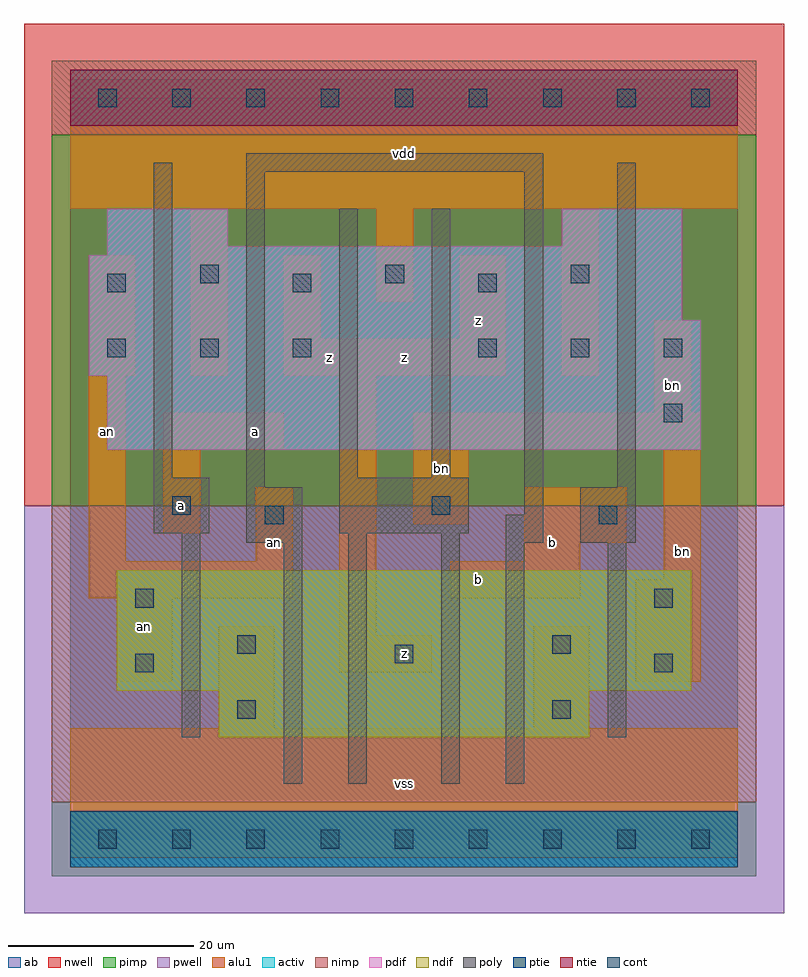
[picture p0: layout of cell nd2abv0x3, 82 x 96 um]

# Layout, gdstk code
import gdstk
lib = gdstk.Library(unit=1e-6, precision=1e-09)
def R(c, l, rs):  # rectangles x0, y0, x1, y1
    for r in rs: c.add(gdstk.rectangle(r[:2], r[2:], *l))
def A(c, l, x, y, w, h, nx, ny, dx, dy):  # array of equal rectangles
    R(c, l, [(x+i*dx, y+j*dy, x+i*dx+w, y+j*dy+h) for i in range(nx) for j in range(ny)])
ndif = (3, 0)
pdif = (4, 0)
ntie = (5, 0)
ptie = (6, 0)
cont = (25, 0)
pwell = (41, 0)
nwell = (42, 0)
activ = (43, 0)
pimp = (44, 0)
nimp = (45, 0)
poly = (46, 0)
alu1 = (49, 0)
ab = (63, 0)

nd2abv0x3 = lib.new_cell('nd2abv0x3')
R(nd2abv0x3, ndif, [(16,11,56,16), (5,16,67,29)])
R(nd2abv0x3, pdif, [(4,42,68,50), (2,50,68,56), (2,56,66,63), (4,63,66,64), (4,64,17,68), (53,64,66,68)])
R(nd2abv0x3, ntie, [(0,77,72,83)])
R(nd2abv0x3, ptie, [(0,-3,72,3)])
A(nd2abv0x3, cont, 3, -1, 2, 2, 9, 2, 8, 80)
A(nd2abv0x3, cont, 4, 52, 2, 2, 3, 1, 10, 0)
A(nd2abv0x3, cont, 44, 52, 2, 2, 3, 1, 10, 0)
A(nd2abv0x3, cont, 4, 59, 2, 2, 3, 1, 20, 0)
A(nd2abv0x3, cont, 14, 60, 2, 2, 3, 1, 20, 0)
R(nd2abv0x3, cont, [(18,13,20,15), (52,13,54,15), (7,18,9,20), (63,18,65,20), (35,19,37,21), (18,20,20,22), (52,20,54,22), (7,25,9,27), (63,25,65,27), (21,34,23,36), (57,34,59,36), (11,35,13,37), (39,35,41,37), (64,45,66,47)])
R(nd2abv0x3, pwell, [(-5,-8,77,36)])
R(nd2abv0x3, nwell, [(-5,36,77,88)])
R(nd2abv0x3, activ, [(0,-3,72,3), (16,11,56,16), (5,16,67,29), (4,42,68,50), (2,50,68,56), (2,56,66,63), (4,63,66,64), (4,64,17,68), (53,64,66,68), (0,77,72,83)])
R(nd2abv0x3, pimp, [(-2,-4,74,4), (-2,36,74,76)])
R(nd2abv0x3, nimp, [(-2,4,74,36), (-2,76,74,84)])
R(nd2abv0x3, poly, [(23,6,25,32), (30,6,32,33), (40,6,42,33), (47,6,49,32), (12,11,14,33), (58,11,60,32), (19,32,25,38), (47,32,51,35), (55,32,61,38), (9,33,15,39), (29,33,43,39), (49,35,51,72), (19,38,21,72), (59,38,61,73), (9,39,11,73), (29,39,31,68), (39,39,41,68), (19,72,51,74)])
R(nd2abv0x3, alu1, [(0,-2,72,12), (16,12,22,23), (50,12,56,23), (5,17,11,26), (61,17,68,28), (29,18,39,22), (29,22,33,50), (2,26,24,30), (41,26,55,30), (64,28,68,42), (2,30,6,50), (20,30,24,38), (49,30,55,32), (49,32,60,38), (10,33,14,42), (37,34,43,42), (10,42,23,46), (37,42,68,46), (63,46,67,56), (2,50,7,63), (13,50,17,68), (23,50,47,54), (53,50,57,68), (23,54,27,63), (42,54,47,63), (33,58,37,68), (0,68,72,82)])
R(nd2abv0x3, ab, [(0,0,72,80)])
nd2abv0x3.add(gdstk.Label('an', (8,23), layer=49, texttype=0))
nd2abv0x3.add(gdstk.Label('an', (4,44), layer=49, texttype=0))
nd2abv0x3.add(gdstk.Label('an', (22,32), layer=49, texttype=0))
nd2abv0x3.add(gdstk.Label('bn', (40,40), layer=49, texttype=0))
nd2abv0x3.add(gdstk.Label('bn', (65,49), layer=49, texttype=0))
nd2abv0x3.add(gdstk.Label('bn', (66,31), layer=49, texttype=0))
nd2abv0x3.add(gdstk.Label('a', (12,36), layer=49, texttype=0))
nd2abv0x3.add(gdstk.Label('a', (20,44), layer=49, texttype=0))
nd2abv0x3.add(gdstk.Label('z', (28,52), layer=49, texttype=0))
nd2abv0x3.add(gdstk.Label('vss', (36,6), layer=49, texttype=0))
nd2abv0x3.add(gdstk.Label('z', (36,20), layer=49, texttype=0))
nd2abv0x3.add(gdstk.Label('b', (44,28), layer=49, texttype=0))
nd2abv0x3.add(gdstk.Label('b', (52,32), layer=49, texttype=0))
nd2abv0x3.add(gdstk.Label('z', (36,52), layer=49, texttype=0))
nd2abv0x3.add(gdstk.Label('z', (44,56), layer=49, texttype=0))
nd2abv0x3.add(gdstk.Label('vdd', (36,74), layer=49, texttype=0))

lib.write_gds('nd2abv0x3.gds')
